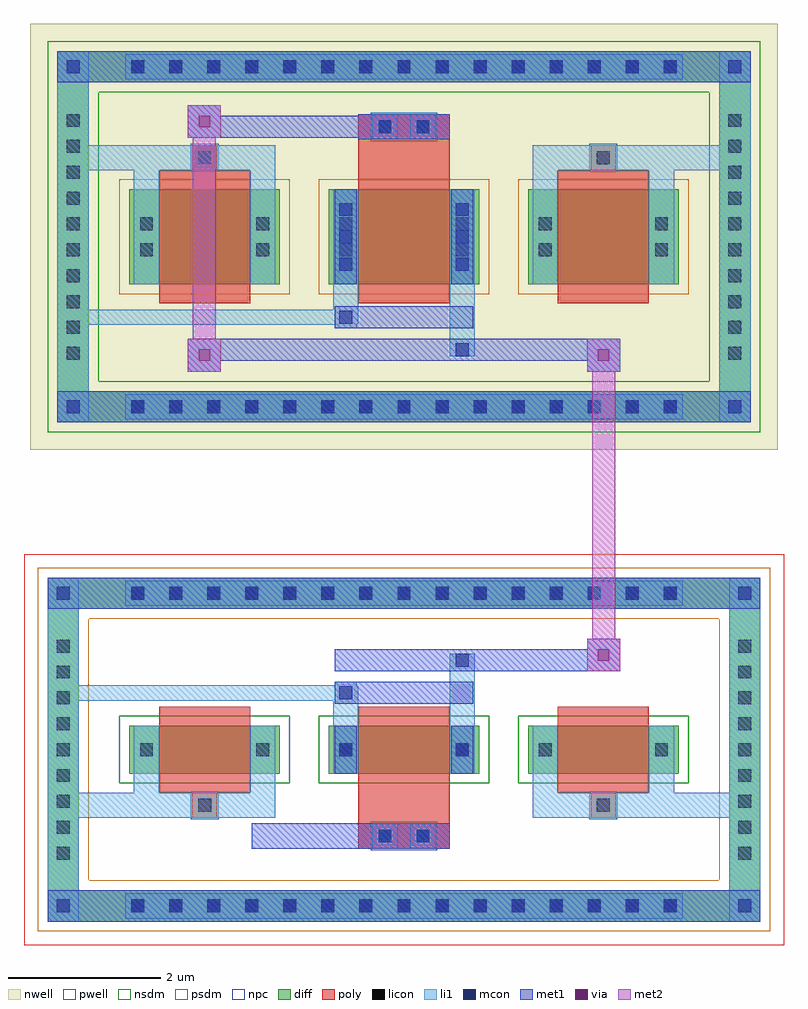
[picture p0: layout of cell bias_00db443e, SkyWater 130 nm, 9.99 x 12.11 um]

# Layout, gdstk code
import gdstk
lib = gdstk.Library(unit=1e-6, precision=5e-09)
def R(c, l, rs):  # rectangles x0, y0, x1, y1
    for r in rs: c.add(gdstk.rectangle(r[:2], r[2:], *l))
def A(c, l, x, y, w, h, nx, ny, dx, dy):  # array of equal rectangles
    R(c, l, [(x+i*dx, y+j*dy, x+i*dx+w, y+j*dy+h) for i in range(nx) for j in range(ny)])
def P(c, l, *ps):  # polygons
    for p in ps: c.add(gdstk.Polygon(p, *l))
nwell = (64, 20)
pwell = (64, 44)
diff = (65, 20)
poly = (66, 20)
licon = (66, 44)
li1 = (67, 20)
mcon = (67, 44)
met1 = (68, 20)
via = (68, 44)
met2 = (69, 20)
nsdm = (93, 44)
psdm = (94, 20)
npc = (95, 20)

bias_00db443e = lib.new_cell('bias_00db443e')
R(bias_00db443e, nwell, [(-4.915,3.94,4.915,9.54), (-4.735,4.12,4.735,9.36)])
R(bias_00db443e, pwell, [(-4.995,-2.57,4.995,2.57)])
A(bias_00db443e, diff, -3.705, -2.26, 0.41, 0.41, 15, 2, 0.5, 4.11)
A(bias_00db443e, diff, -4.685, -1.565, 0.41, 0.41, 1, 9, 0, 0.34)
A(bias_00db443e, diff, 4.275, -1.565, 0.41, 0.41, 1, 9, 0, 0.34)
A(bias_00db443e, diff, -3.61, -0.315, 1.98, 0.63, 3, 1, 2.62, 0)
A(bias_00db443e, diff, -3.705, 4.3, 0.41, 0.41, 15, 2, 0.5, 4.47)
A(bias_00db443e, diff, -4.555, 5.005, 0.41, 0.41, 1, 10, 0, 0.34)
A(bias_00db443e, diff, 4.145, 5.005, 0.41, 0.41, 1, 10, 0, 0.34)
A(bias_00db443e, diff, -3.61, 6.115, 1.98, 1.25, 3, 1, 2.62, 0)
R(bias_00db443e, diff, [(-3.705,-2.26,3.705,-1.85), (-4.685,-1.565,-4.275,1.565), (4.275,-1.565,4.685,1.565), (-3.705,1.85,3.705,2.26), (-3.705,4.3,3.705,4.71), (-4.555,5.005,-4.145,8.475), (4.145,5.005,4.555,8.475), (-3.705,8.77,3.705,9.18)])
P(bias_00db443e, diff, [(4.685,2.26),(-4.685,2.26),(-4.685,-1.85),(-4.275,-1.85),(-4.275,1.85),(4.275,1.85),(4.275,-1.85),(-4.275,-1.85),(-4.685,-1.85),(-4.685,-2.26),(4.685,-2.26)],
  [(4.555,4.3),(-4.555,4.3),(-4.555,8.77),(-4.145,8.77),(-4.145,4.71),(4.145,4.71),(4.145,8.77),(-4.145,8.77),(-4.555,8.77),(-4.555,9.18),(4.555,9.18)])
A(bias_00db443e, poly, -3.22, -0.565, 1.2, 1.13, 3, 1, 2.62, 0)
A(bias_00db443e, poly, -3.22, 5.865, 1.2, 1.75, 3, 1, 2.62, 0)
R(bias_00db443e, poly, [(-0.6,-1.3,0.6,-0.97), (-0.415,-1.3,-0.085,-0.97), (0.085,-1.3,0.415,-0.97), (-0.6,-0.97,0.6,-0.565), (-2.785,-0.895,-2.455,-0.565), (-2.785,-0.895,-2.455,-0.565), (2.455,-0.895,2.785,-0.565), (2.455,-0.895,2.785,-0.565), (-2.785,7.615,-2.455,7.945), (-2.785,7.615,-2.455,7.945), (-0.6,7.615,0.6,8.02), (2.455,7.615,2.785,7.945), (2.455,7.615,2.785,7.945), (-0.6,8.02,0.6,8.35), (-0.415,8.02,-0.085,8.35), (0.085,8.02,0.415,8.35)])
A(bias_00db443e, licon, -3.585, -2.14, 0.17, 0.17, 15, 2, 0.5, 4.11)
A(bias_00db443e, licon, -4.565, -1.445, 0.17, 0.17, 1, 9, 0, 0.34)
A(bias_00db443e, licon, 4.395, -1.445, 0.17, 0.17, 1, 9, 0, 0.34)
A(bias_00db443e, licon, -3.585, 4.42, 0.17, 0.17, 15, 2, 0.5, 4.47)
A(bias_00db443e, licon, -4.435, 5.125, 0.17, 0.17, 1, 10, 0, 0.34)
A(bias_00db443e, licon, 4.265, 5.125, 0.17, 0.17, 1, 10, 0, 0.34)
R(bias_00db443e, licon, [(-0.335,-1.22,-0.165,-1.05), (0.165,-1.22,0.335,-1.05), (-2.705,-0.815,-2.535,-0.645), (2.535,-0.815,2.705,-0.645), (-3.47,-0.085,-3.3,0.085), (-1.94,-0.085,-1.77,0.085), (-0.85,-0.085,-0.68,0.085), (0.68,-0.085,0.85,0.085), (1.77,-0.085,1.94,0.085), (3.3,-0.085,3.47,0.085), (-3.47,6.485,-3.3,6.655), (-1.94,6.485,-1.77,6.655), (-0.85,6.485,-0.68,6.655), (0.68,6.485,0.85,6.655), (1.77,6.485,1.94,6.655), (3.3,6.485,3.47,6.655), (-3.47,6.825,-3.3,6.995), (-1.94,6.825,-1.77,6.995), (-0.85,6.825,-0.68,6.995), (0.68,6.825,0.85,6.995), (1.77,6.825,1.94,6.995), (3.3,6.825,3.47,6.995), (-2.705,7.695,-2.535,7.865), (2.535,7.695,2.705,7.865), (-0.335,8.1,-0.165,8.27), (0.165,8.1,0.335,8.27)])
A(bias_00db443e, li1, -3.665, -2.22, 0.33, 0.33, 15, 2, 0.5, 4.11)
A(bias_00db443e, li1, -4.645, -1.525, 0.33, 0.33, 1, 9, 0, 0.34)
A(bias_00db443e, li1, 4.315, -1.525, 0.33, 0.33, 1, 9, 0, 0.34)
A(bias_00db443e, li1, -3.665, 4.34, 0.33, 0.33, 15, 2, 0.5, 4.47)
A(bias_00db443e, li1, -4.515, 5.045, 0.33, 0.33, 1, 10, 0, 0.34)
A(bias_00db443e, li1, 4.185, 5.045, 0.33, 0.33, 1, 10, 0, 0.34)
A(bias_00db443e, li1, -0.85, 6.295, 0.17, 0.17, 1, 3, 0, 0.36)
A(bias_00db443e, li1, 0.68, 6.295, 0.17, 0.17, 1, 3, 0, 0.36)
R(bias_00db443e, li1, [(-4.685,-2.26,-4.275,-1.85), (4.275,-2.26,4.685,-1.85), (-3.665,-2.22,3.665,-1.89), (-4.565,-2.14,-4.395,-1.97), (-4.565,-2.14,-4.395,-1.97), (4.395,-2.14,4.565,-1.97), (4.395,-2.14,4.565,-1.97), (-4.685,-1.85,-4.275,1.85), (4.275,-1.85,4.685,1.85), (-0.415,-1.3,-0.085,-0.97), (0.085,-1.3,0.415,-0.97), (-4.685,-0.895,-2.785,-0.565), (-3.55,-0.895,-2.785,-0.565), (-3.55,-0.895,-3.22,-0.315), (-2.785,-0.895,-2.455,-0.565), (-2.455,-0.895,-1.69,-0.565), (-2.02,-0.895,-1.69,-0.315), (1.69,-0.895,2.455,-0.565), (1.69,-0.895,2.02,-0.315), (2.455,-0.895,2.785,-0.565), (2.455,-0.895,4.685,-0.565), (2.785,-0.895,3.55,-0.565), (3.22,-0.895,3.55,-0.315), (-3.55,-0.315,-3.22,0.315), (-2.02,-0.315,-1.69,0.315), (-0.93,-0.315,-0.6,0.315), (0.6,-0.315,0.93,0.315), (1.69,-0.315,2.02,0.315), (3.22,-0.315,3.55,0.315), (-3.55,-0.165,-3.22,0.165), (-2.02,-0.165,-1.69,0.165), (-0.93,-0.165,-0.6,0.165), (0.6,-0.165,0.93,0.165), (1.69,-0.165,2.02,0.165), (3.22,-0.165,3.55,0.165), (-0.85,-0.085,-0.68,0.085), (-0.85,-0.085,-0.68,0.085), (0.68,-0.085,0.85,0.085), (0.68,-0.085,0.85,0.085), (-0.93,0.315,-0.6,0.83), (0.6,0.315,0.93,1.26), (-0.91,0.6,-0.62,0.89), (-4.685,0.645,-0.91,0.845), (-0.85,0.66,-0.68,0.83), (-0.85,0.66,-0.68,0.83), (0.68,1.09,0.85,1.26), (-4.685,1.85,-4.275,2.26), (4.275,1.85,4.685,2.26), (-3.665,1.89,3.665,2.22), (-4.565,1.97,-4.395,2.14), (-4.565,1.97,-4.395,2.14), (4.395,1.97,4.565,2.14), (4.395,1.97,4.565,2.14), (-4.555,4.3,-4.145,4.71), (4.145,4.3,4.555,4.71), (-3.665,4.34,3.665,4.67), (-4.435,4.42,-4.265,4.59), (-4.435,4.42,-4.265,4.59), (4.265,4.42,4.435,4.59), (4.265,4.42,4.435,4.59), (-4.555,4.71,-4.145,8.77), (4.145,4.71,4.555,8.77), (0.6,5.17,0.93,6.115), (0.68,5.17,0.85,5.34), (-0.91,5.54,-0.62,5.83), (-4.555,5.585,-0.91,5.785), (-0.93,5.6,-0.6,6.115), (-0.85,5.6,-0.68,5.77), (-0.85,5.6,-0.68,5.77), (-3.55,6.115,-3.22,7.365), (-2.02,6.115,-1.69,7.365), (-0.93,6.115,-0.6,7.365), (0.6,6.115,0.93,7.365), (1.69,6.115,2.02,7.365), (3.22,6.115,3.55,7.365), (-0.85,6.295,-0.68,7.185), (0.68,6.295,0.85,7.185), (-3.55,6.405,-3.22,6.735), (-2.02,6.405,-1.69,6.735), (-0.93,6.405,-0.6,6.735), (0.6,6.405,0.93,6.735), (1.69,6.405,2.02,6.735), (3.22,6.405,3.55,6.735), (-3.55,6.745,-3.22,7.075), (-2.02,6.745,-1.69,7.075), (-0.93,6.745,-0.6,7.075), (0.6,6.745,0.93,7.075), (1.69,6.745,2.02,7.075), (3.22,6.745,3.55,7.075), (-3.55,7.365,-3.22,7.945), (-2.02,7.365,-1.69,7.945), (1.69,7.365,2.02,7.945), (3.22,7.365,3.55,7.945), (-4.555,7.615,-2.785,7.945), (-3.55,7.615,-2.785,7.945), (-2.785,7.615,-2.455,7.945), (-2.455,7.615,-1.69,7.945), (1.69,7.615,2.455,7.945), (2.455,7.615,2.785,7.945), (2.455,7.615,4.555,7.945), (2.785,7.615,3.55,7.945), (-0.415,8.02,-0.085,8.35), (0.085,8.02,0.415,8.35), (-4.555,8.77,-4.145,9.18), (4.145,8.77,4.555,9.18), (-3.665,8.81,3.665,9.14), (-4.435,8.89,-4.265,9.06), (-4.435,8.89,-4.265,9.06), (4.265,8.89,4.435,9.06), (4.265,8.89,4.435,9.06)])
A(bias_00db443e, mcon, -3.585, -2.14, 0.17, 0.17, 15, 2, 0.5, 4.11)
A(bias_00db443e, mcon, -3.585, 4.42, 0.17, 0.17, 15, 2, 0.5, 4.47)
A(bias_00db443e, mcon, -0.85, 6.295, 0.17, 0.17, 1, 3, 0, 0.36)
A(bias_00db443e, mcon, 0.68, 6.295, 0.17, 0.17, 1, 3, 0, 0.36)
R(bias_00db443e, mcon, [(-4.565,-2.14,-4.395,-1.97), (4.395,-2.14,4.565,-1.97), (-0.335,-1.22,-0.165,-1.05), (0.165,-1.22,0.335,-1.05), (-0.85,-0.085,-0.68,0.085), (0.68,-0.085,0.85,0.085), (-0.85,0.66,-0.68,0.83), (-0.85,0.66,-0.68,0.83), (0.68,1.09,0.85,1.26), (-4.565,1.97,-4.395,2.14), (4.395,1.97,4.565,2.14), (-4.435,4.42,-4.265,4.59), (4.265,4.42,4.435,4.59), (0.68,5.17,0.85,5.34), (-0.85,5.6,-0.68,5.77), (-0.85,5.6,-0.68,5.77), (-0.335,8.1,-0.165,8.27), (0.165,8.1,0.335,8.27), (-4.435,8.89,-4.265,9.06), (4.265,8.89,4.435,9.06)])
A(bias_00db443e, met1, -3.645, -2.2, 0.29, 0.29, 15, 2, 0.5, 4.11)
A(bias_00db443e, met1, -3.645, 4.36, 0.29, 0.29, 15, 2, 0.5, 4.47)
A(bias_00db443e, met1, -0.91, 6.235, 0.29, 0.29, 1, 3, 0, 0.36)
A(bias_00db443e, met1, 0.62, 6.235, 0.29, 0.29, 1, 3, 0, 0.36)
R(bias_00db443e, met1, [(-4.685,-2.26,-4.275,-1.85), (-4.685,-2.26,-4.275,-1.85), (-4.275,-2.26,4.275,-1.85), (4.275,-2.26,4.685,-1.85), (4.275,-2.26,4.685,-1.85), (-4.625,-2.2,-4.335,-1.91), (4.335,-2.2,4.625,-1.91), (-2,-1.3,-0.6,-0.97), (-0.6,-1.3,0.6,-0.97), (-0.395,-1.28,-0.105,-0.99), (0.105,-1.28,0.395,-0.99), (-0.91,-0.315,-0.62,0.315), (0.62,-0.315,0.91,0.315), (-0.91,-0.145,-0.62,0.145), (0.62,-0.145,0.91,0.145), (-0.91,0.6,-0.62,0.89), (-0.91,0.6,-0.62,0.89), (-0.91,0.6,0.91,0.89), (-0.91,1.03,0.91,1.32), (0.62,1.03,0.91,1.32), (0.91,1.03,2.84,1.32), (2.41,1.03,2.84,1.46), (-4.685,1.85,-4.275,2.26), (-4.685,1.85,-4.275,2.26), (-4.275,1.85,4.275,2.26), (4.275,1.85,4.685,2.26), (4.275,1.85,4.685,2.26), (-4.625,1.91,-4.335,2.2), (4.335,1.91,4.625,2.2), (-4.555,4.3,-4.145,4.71), (-4.555,4.3,-4.145,4.71), (-4.145,4.3,4.145,4.71), (4.145,4.3,4.555,4.71), (4.145,4.3,4.555,4.71), (-4.495,4.36,-4.205,4.65), (4.205,4.36,4.495,4.65), (-2.84,4.97,-2.41,5.4), (2.41,4.97,2.84,5.4), (-2.84,5.11,-0.91,5.4), (-0.91,5.11,0.91,5.4), (0.62,5.11,0.91,5.4), (0.91,5.11,2.84,5.4), (-0.91,5.54,-0.62,5.83), (-0.91,5.54,-0.62,5.83), (-0.91,5.54,0.91,5.83), (-0.91,6.115,-0.62,7.365), (0.62,6.115,0.91,7.365), (-0.6,8.02,0.6,8.35), (-2.84,8.04,-0.6,8.33), (-2.84,8.04,-2.41,8.47), (-0.395,8.04,-0.105,8.33), (0.105,8.04,0.395,8.33), (-4.555,8.77,-4.145,9.18), (-4.555,8.77,-4.145,9.18), (-4.145,8.77,4.145,9.18), (4.145,8.77,4.555,9.18), (4.145,8.77,4.555,9.18), (-4.495,8.83,-4.205,9.12), (4.205,8.83,4.495,9.12)])
R(bias_00db443e, via, [(2.55,1.17,2.7,1.32), (-2.7,5.11,-2.55,5.26), (2.55,5.11,2.7,5.26), (-2.7,8.18,-2.55,8.33)])
R(bias_00db443e, met2, [(2.41,1.03,2.84,1.46), (2.475,1.03,2.775,5.4), (2.775,1.03,2.84,1.46), (2.46,1.08,2.79,1.41), (-2.84,4.97,-2.41,5.4), (-2.775,4.97,-2.475,8.47), (-2.475,4.97,-2.41,5.4), (2.41,4.97,2.84,5.4), (2.775,4.97,2.84,5.4), (-2.79,5.02,-2.46,5.35), (2.46,5.02,2.79,5.35), (-2.84,8.04,-2.41,8.47), (-2.475,8.04,-2.41,8.47), (-2.79,8.09,-2.46,8.42)])
A(bias_00db443e, nsdm, -3.74, -0.445, 2.24, 0.89, 3, 1, 2.62, 0)
P(bias_00db443e, nsdm, [(4.685,4.17),(-4.685,4.17),(-4.685,8.64),(-4.015,8.64),(-4.015,4.84),(4.015,4.84),(4.015,8.64),(-4.015,8.64),(-4.685,8.64),(-4.685,9.31),(4.685,9.31)])
A(bias_00db443e, psdm, -3.74, 5.985, 2.24, 1.51, 3, 1, 2.62, 0)
P(bias_00db443e, psdm, [(4.815,2.39),(-4.815,2.39),(-4.815,-1.72),(-4.145,-1.72),(-4.145,1.72),(4.145,1.72),(4.145,-1.72),(-4.145,-1.72),(-4.815,-1.72),(-4.815,-2.39),(4.815,-2.39)])
R(bias_00db443e, npc, [(-0.435,-1.32,-0.065,-0.95), (-0.435,-1.32,0.435,-0.95), (-0.435,-1.32,0.435,-0.95), (0.065,-1.32,0.435,-0.95), (-2.805,-0.915,-2.435,-0.545), (2.435,-0.915,2.805,-0.545), (-2.805,7.595,-2.435,7.965), (2.435,7.595,2.805,7.965), (-0.435,8,-0.065,8.37), (-0.435,8,0.435,8.37), (-0.435,8,0.435,8.37), (0.065,8,0.435,8.37)])

lib.write_gds('bias_00db443e.gds')
